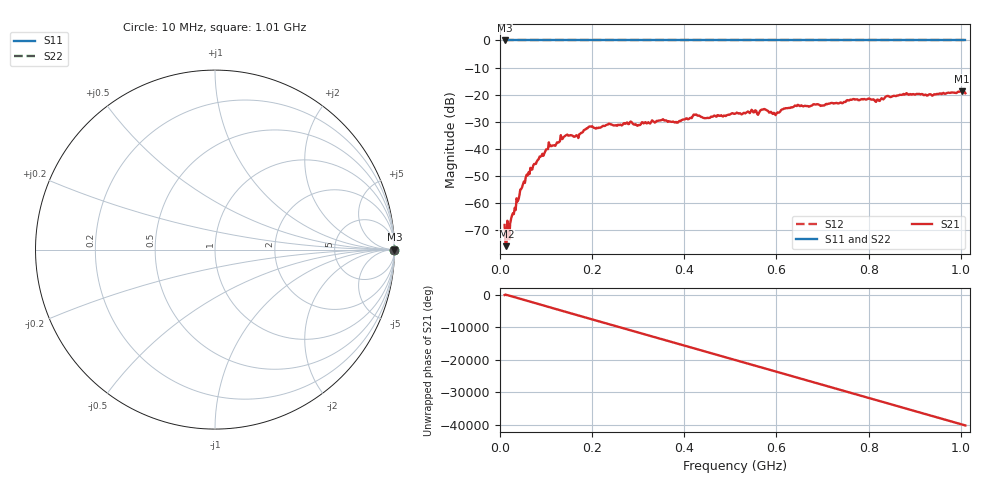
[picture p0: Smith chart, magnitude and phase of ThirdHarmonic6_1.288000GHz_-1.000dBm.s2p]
! 8/16/2025 2:04:29 PM
! C:\ANRITSUVNA\TEMP\TEMP.S2P
! CHANNEL.1
! TR.MEASUREMENT
! RAW.DATA
! RF.CORRECTION.OFF
! AVERAGING.OFF
! IF.BANDWIDTH: 5KHZ
! SWEEPTYPE:  FREQ.SWEEP(Linear)
! Reference Plane Port Info
! PORT:  PORT1  PORT2
! DISTANCE:  0  m  0  m
! TIME:  0  s  0  s
! PHASE.OFFSET:  0  deg.  0  deg.
! LOSS:  0  dB  0  dB
! REF.LOSS:  0  dB  0  dB
! REF.FREQ:  0  Hz  0  Hz
! Power Info
! POWER:  -20  dBm  -20  dBm
! EFF.POWER:  -20  dBm  -20  dBm
! SOURCE.ATTEN:  0  dB  0  dB
! TEST.ATTEN:  0  dB  0  dB
# GHZ S RI R 50.0
! FREQ.GHZ  S11RE  S11IM  S21RE  S21IM  S12RE  S12IM  S22RE  S22IM
!; PortSelection: Port_12
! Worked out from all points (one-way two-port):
!   501 points, 10 MHz to 1.01 GHz, reference 50 ohm
!   highest |S21| = -18.71 dB at 1.002 GHz (marker M1); lowest = -75.8 dB at 14 MHz (marker M2)
!   lowest |S11| = 0.0 dB at 10 MHz (marker M3)
!   |S11| at or under -10 dB: nowhere
!   |S22| runs from 0.0 to 0.0 dB; largest |S21 - S12| = 1.1
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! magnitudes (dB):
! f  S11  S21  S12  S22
! 10 MHz  0.0  -68.0  0.0  0.0
! 14 MHz  0.0  -75.8  0.0  0.0
! 16 MHz  0.0  -66.4  0.0  0.0
! 20 MHz  0.0  -73.3  0.0  0.0
! 48 MHz  0.0  -54.0  0.0  0.0
! 84 MHz  0.0  -43.7  0.0  0.0
! 104 MHz  0.0  -40.0  0.0  0.0
! 136 MHz  0.0  -36.2  0.0  0.0
! 178 MHz  0.0  -34.0  0.0  0.0
! 196 MHz  0.0  -31.7  0.0  0.0
! 344 MHz  0.0  -29.5  0.0  0.0
! 382 MHz  0.0  -30.0  0.0  0.0
! 424 MHz  0.0  -27.3  0.0  0.0
! 448 MHz  0.0  -28.6  0.0  0.0
! 510 MHz  0.0  -27.0  0.0  0.0
! 572 MHz  0.0  -25.3  0.0  0.0
! 596 MHz  0.0  -26.9  0.0  0.0
! 644 MHz  0.0  -24.2  0.0  0.0
! 678 MHz  0.0  -23.8  0.0  0.0
! 844 MHz  0.0  -20.6  0.0  0.0
! 1.002 GHz  0.0  -18.7  0.0  0.0
! 1.01 GHz  0.0  -19.5  0.0  0.0
